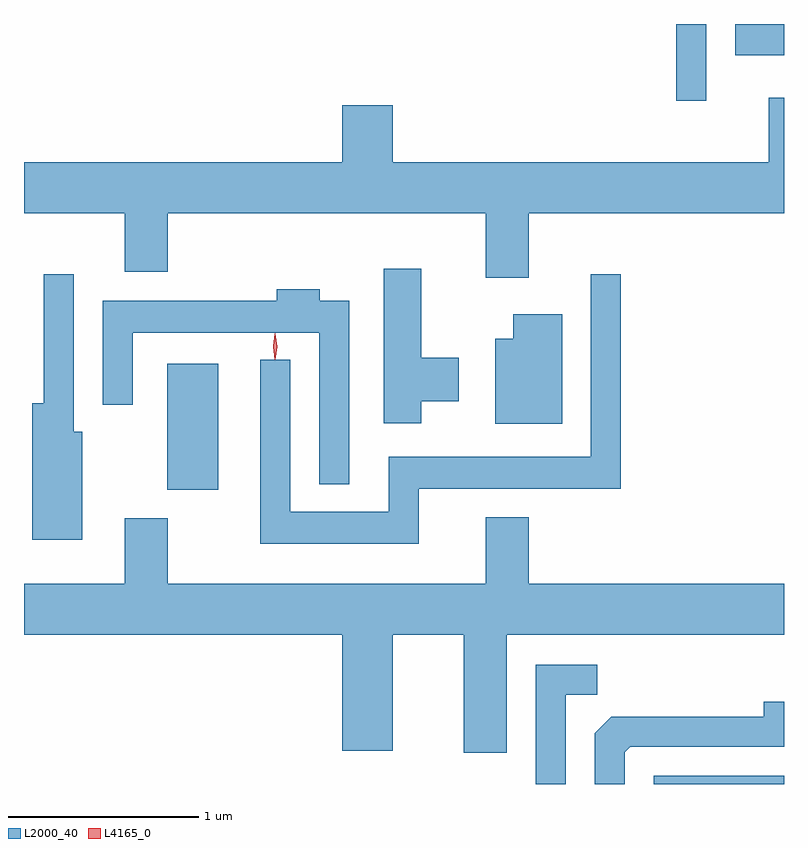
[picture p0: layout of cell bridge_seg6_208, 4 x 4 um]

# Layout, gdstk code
import gdstk
lib = gdstk.Library(unit=1e-6, precision=1e-09)
def R(c, l, rs):  # rectangles x0, y0, x1, y1
    for r in rs: c.add(gdstk.rectangle(r[:2], r[2:], *l))
def P(c, l, *ps):  # polygons
    for p in ps: c.add(gdstk.Polygon(p, *l))
L2000_40 = (2000, 40)
L4165_0 = (4165, 0)

bridge_seg6_208 = lib.new_cell('bridge_seg6_208')
R(bridge_seg6_208, L2000_40, [(1095.836,1549.251,1096.522,1549.294), (1093.276,1550.801,1093.544,1551.464), (1095.956,1552.848,1096.114,1553.251), (1096.266,1553.086,1096.522,1553.251)])
P(bridge_seg6_208, L2000_40, [(1095.179,1552.256),(1096.522,1552.256),(1096.522,1552.864),(1096.441,1552.864),(1096.441,1552.524),(1094.464,1552.524),(1094.464,1552.824),(1094.196,1552.824),(1094.196,1552.524),(1092.522,1552.524),(1092.522,1552.256),(1093.051,1552.256),(1093.051,1551.946),(1093.279,1551.946),(1093.279,1552.256),(1094.951,1552.256),(1094.951,1551.916),(1095.179,1551.916)],
  [(1094.614,1551.266),(1094.809,1551.266),(1094.809,1551.494),(1094.614,1551.494),(1094.614,1551.964),(1094.416,1551.964),(1094.416,1551.151),(1094.614,1551.151)],
  [(1092.829,1551.104),(1092.784,1551.104),(1092.784,1551.933),(1092.626,1551.933),(1092.626,1551.254),(1092.566,1551.254),(1092.566,1550.536),(1092.829,1550.536)],
  [(1094.599,1550.806),(1095.664,1550.806),(1095.664,1551.933),(1095.506,1551.933),(1095.506,1550.974),(1094.441,1550.974),(1094.441,1550.684),(1093.924,1550.684),(1093.924,1551.483),(1093.766,1551.483),(1093.766,1550.516),(1094.599,1550.516)],
  [(1094.234,1551.794),(1094.079,1551.794),(1094.079,1551.854),(1093.851,1551.854),(1093.851,1551.794),(1092.936,1551.794),(1092.936,1551.248),(1093.094,1551.248),(1093.094,1551.626),(1094.076,1551.626),(1094.076,1550.828),(1094.234,1550.828)],
  [(1095.354,1551.724),(1095.096,1551.724),(1095.096,1551.594),(1095.001,1551.594),(1095.001,1551.146),(1095.354,1551.146)],
  [(1095.064,1550.036),(1096.522,1550.036),(1096.522,1550.304),(1095.179,1550.304),(1095.179,1550.654),(1094.951,1550.654),(1094.951,1550.304),(1093.279,1550.304),(1093.279,1550.649),(1093.051,1550.649),(1093.051,1550.304),(1092.522,1550.304),(1092.522,1550.036),(1094.196,1550.036),(1094.196,1549.426),(1094.464,1549.426),(1094.464,1550.036),(1094.836,1550.036),(1094.836,1549.416),(1095.064,1549.416)],
  [(1095.374,1549.721),(1095.538,1549.721),(1095.538,1549.879),(1095.216,1549.879),(1095.216,1549.251),(1095.374,1549.251)],
  [(1095.684,1549.419),(1095.712,1549.446),(1096.522,1549.446),(1096.522,1549.683),(1096.416,1549.683),(1096.416,1549.604),(1095.612,1549.604),(1095.526,1549.519),(1095.526,1549.251),(1095.684,1549.251)])
P(bridge_seg6_208, L4165_0, [(1093.843,1551.487),(1093.834,1551.554),(1093.843,1551.62),(1093.843,1551.62),(1093.844,1551.62),(1093.853,1551.554),(1093.844,1551.487),(1093.844,1551.487)],
  [(1093.843,1551.484),(1093.834,1551.553),(1093.843,1551.622),(1093.844,1551.623),(1093.844,1551.622),(1093.854,1551.553),(1093.844,1551.484),(1093.844,1551.484)])

lib.write_gds('bridge_seg6_208.gds')
